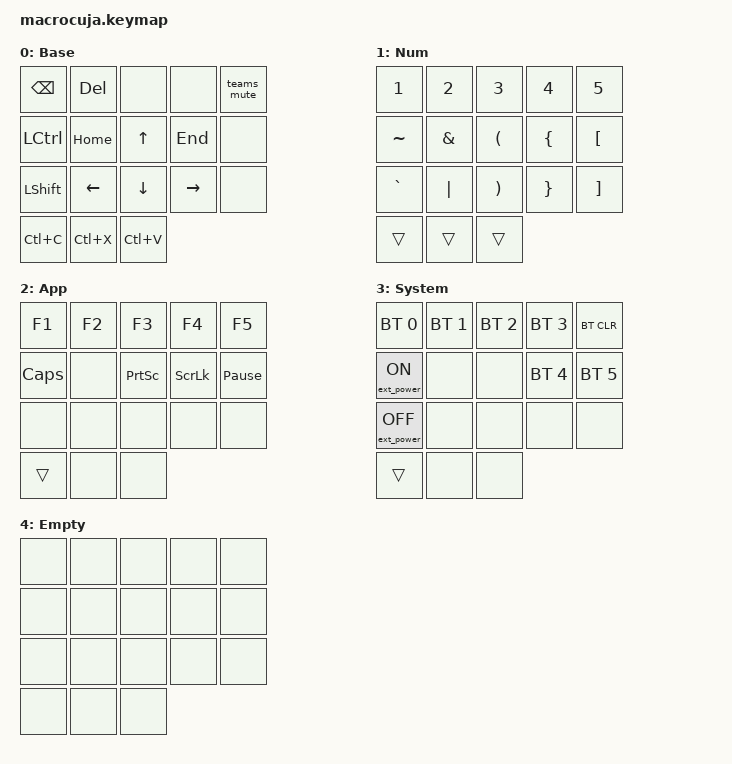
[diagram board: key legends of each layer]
/*
 * Copyright (c) 2020 The ZMK Contributors
 *
 * SPDX-License-Identifier: MIT
 */

#include <behaviors.dtsi>
#include <dt-bindings/zmk/keys.h>
#include <dt-bindings/zmk/bt.h>
#include <dt-bindings/zmk/ext_power.h>

#define DEFAULT 0
#define NUM     1
#define NAV     2
#define APP     3

&caps_word {
  continue-list = <UNDERSCORE MINUS BACKSPACE DELETE>;
};

&mt {
  quick-tap-ms = <200>;
};

/ {
  macros {
    teams_mute: teams_mute {
      label = "TEAMS_MUTE";
      compatible = "zmk,behavior-macro";
      #binding-cells = <0>;
      bindings 
        = <&macro_press &kp LCTRL>
        , <&macro_press &kp LSHFT>
        , <&macro_press &kp M>
        , <&macro_release &kp LCTRL>
        , <&macro_release &kp LSHFT>
        , <&macro_release &kp M>
        ;
    };
  };
  

  behaviors {

    hm: homerow_mods {
      compatible = "zmk,behavior-hold-tap";
      label = "HOMEROW_MODS";
      #binding-cells = <2>;
      tapping_term_ms = <250>;
      quick-tap-ms = <200>;
      global-quick-tap;
      flavor = "tap-preferred";
      bindings = <&kp>, <&kp>;
    };

    hmt: homerow_mods_no_quicktap {
      compatible = "zmk,behavior-hold-tap";
      label = "HOMEROW_MODS";
      #binding-cells = <2>;
      tapping_term_ms = <250>;
      quick-tap-ms = <200>;
      flavor = "balanced";
      bindings = <&kp>, <&kp>;
    };

    lhp: layer_hold_prefered {
      compatible = "zmk,behavior-hold-tap";
      label = "LAYER_HOLD_PREFERED";
      #binding-cells = <2>;
      tapping_term_ms = <150>;
      flavor = "hold-preferred";
      bindings = <&mo>, <&kp>;
    };

  };

  combos {
    compatible = "zmk,combos";

    #define COMBO(NAME, BINDINGS, KEYPOS, LAYERS) \
      combo_##NAME { \
        bindings = <BINDINGS>; \
        key-positions = <KEYPOS>; \
        layers = <LAYERS>; \
      };

    /*
      ╭─────────────────────╮
      │   0   1   2   3   4 │
      │   5   6   7   8   9 │ 
      │  10  11  12  13  14 |
      |  15  16  17╭────────╯
      ╰────────────╯
    */

    COMBO(caps_word, &caps_word, 10 14, DEFAULT)
  };

  keymap {
    compatible = "zmk,keymap";

    default_layer {
      label = "Base";
      bindings = <
   &kp BSPC        &kp DELETE    &none         &none         &teams_mute
   &kp LCTRL       &kp HOME      &kp UP        &kp END       &none
   &kp LSHIFT      &kp LEFT      &kp DOWN      &kp RIGHT     &none
   &kp LC(C)       &kp LC(X)     &kp LC(V)
      >;
    };

    num_layer {
      label = "Num";
      bindings = <
   &kp N1       &kp N2       &kp N3       &kp N4       &kp N5
   &kp TILDE    &kp AMPS     &kp LPAR     &kp LBRC     &kp LBKT
   &kp GRAVE    &kp PIPE     &kp RPAR     &kp RBRC     &kp RBKT
   &trans       &trans       &trans 
      >;
    };

    app_layer {
      label = "App";
      bindings = <
   &kp F1       &kp F2       &kp F3       &kp F4       &kp F5           
   &kp CAPS     &none        &kp PSCRN    &kp SLCK     &kp PAUSE_BREAK  
   &none        &none        &none        &none        &none            
   &trans       &none        &none            
      >;
    };

    system_layer {
      label = "System";
      bindings = <
   &bt BT_SEL 0      &bt BT_SEL 1 &bt BT_SEL 2 &bt BT_SEL 3 &bt BT_CLR 
   &ext_power EP_ON  &none        &none        &bt BT_SEL 4 &bt BT_SEL 5 
   &ext_power EP_OFF &none        &none        &none        &none        
   &trans            &none        &none      
      >;
    };

    empty_layer {
      label = "Empty";
      bindings = <
   &none        &none        &none        &none        &none 
   &none        &none        &none        &none        &none 
   &none        &none        &none        &none        &none
   &none        &none        &none
      >;
    };

  };
};

